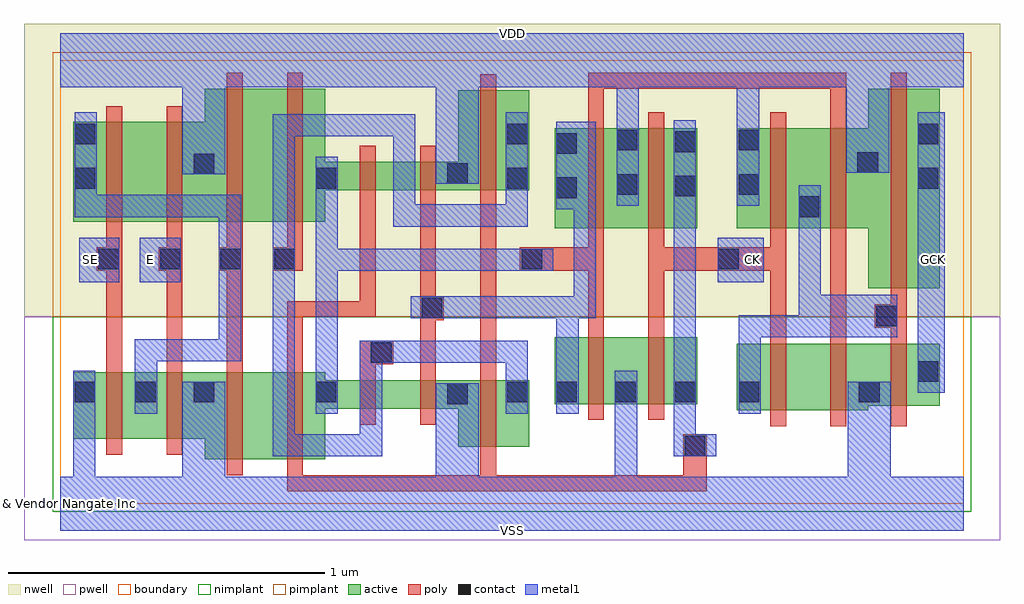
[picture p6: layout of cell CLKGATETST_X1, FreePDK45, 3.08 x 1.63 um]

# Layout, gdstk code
import gdstk
lib = gdstk.Library(unit=1e-6, precision=1e-09)
def R(c, l, rs):  # rectangles x0, y0, x1, y1
    for r in rs: c.add(gdstk.rectangle(r[:2], r[2:], *l))
def P(c, l, *ps):  # polygons
    for p in ps: c.add(gdstk.Polygon(p, *l))
active = (1, 0)
pwell = (2, 0)
nwell = (3, 0)
nimplant = (4, 0)
pimplant = (5, 0)
poly = (9, 0)
contact = (10, 0)
metal1 = (11, 0)
boundary = (235, 0)

clkgatetst_x1 = lib.new_cell('CLKGATETST_X1')
R(clkgatetst_x1, active, [(1.56,0.315,2.01,0.525), (1.56,0.87,2.01,1.185)])
P(clkgatetst_x1, active, [(0.04,0.205),(0.455,0.205),(0.455,0.14),(0.835,0.14),(0.835,0.3),(1.255,0.3),(1.255,0.18),(1.48,0.18),(1.48,0.39),(0.835,0.39),(0.835,0.415),(0.04,0.415)],
  [(0.04,0.89),(0.835,0.89),(0.835,0.99),(1.48,0.99),(1.48,1.305),(1.255,1.305),(1.255,1.08),(0.835,1.08),(0.835,1.31),(0.455,1.31),(0.455,1.205),(0.04,1.205)],
  [(2.135,0.295),(2.55,0.295),(2.55,0.31),(2.775,0.31),(2.775,0.505),(2.135,0.505)],
  [(2.135,0.87),(2.55,0.87),(2.55,0.68),(2.775,0.68),(2.775,1.31),(2.55,1.31),(2.55,1.185),(2.135,1.185)])
R(clkgatetst_x1, pwell, [(-0.115,-0.115,2.965,0.59)])
R(clkgatetst_x1, nwell, [(-0.115,0.59,2.965,1.515)])
R(clkgatetst_x1, nimplant, [(-0.025,-0.025,2.875,0.59)])
R(clkgatetst_x1, pimplant, [(-0.025,0.59,2.875,1.425)])
P(clkgatetst_x1, poly, [(0.115,0.735),(0.145,0.735),(0.145,0.155),(0.195,0.155),(0.195,1.255),(0.145,1.255),(0.145,0.81),(0.115,0.81)],
  [(0.31,0.735),(0.335,0.735),(0.335,0.155),(0.385,0.155),(0.385,1.255),(0.335,1.255),(0.335,0.81),(0.31,0.81)],
  [(0.5,0.735),(0.525,0.735),(0.525,0.09),(0.575,0.09),(0.575,1.36),(0.525,1.36),(0.525,0.81),(0.5,0.81)],
  [(0.67,0.735),(0.765,0.735),(0.765,1.36),(0.715,1.36),(0.715,0.81),(0.67,0.81)],
  [(0.945,0.25),(0.995,0.25),(0.995,0.44),(1.05,0.44),(1.05,0.515),(0.945,0.515)],
  [(1.135,0.25),(1.185,0.25),(1.185,0.58),(1.21,0.58),(1.21,0.655),(1.185,0.655),(1.185,1.13),(1.135,1.13)],
  [(0.715,0.04),(2.04,0.04),(2.04,0.22),(1.965,0.22),(1.965,0.09),(1.375,0.09),(1.375,1.355),(1.325,1.355),(1.325,0.09),(0.765,0.09),(0.765,0.59),(0.995,0.59),(0.995,1.13),(0.945,1.13),(0.945,0.64),(0.715,0.64)],
  [(1.855,0.265),(1.905,0.265),(1.905,0.735),(2.24,0.735),(2.24,0.245),(2.29,0.245),(2.29,1.235),(2.24,1.235),(2.24,0.81),(1.905,0.81),(1.905,1.235),(1.855,1.235)],
  [(1.45,0.735),(1.665,0.735),(1.665,0.265),(1.715,0.265),(1.715,1.31),(2.43,1.31),(2.43,0.245),(2.48,0.245),(2.48,1.36),(1.665,1.36),(1.665,0.81),(1.45,0.81)],
  [(2.57,0.555),(2.62,0.555),(2.62,0.245),(2.67,0.245),(2.67,1.36),(2.62,1.36),(2.62,0.63),(2.57,0.63)])
R(clkgatetst_x1, contact, [(1.97,0.15,2.035,0.215), (1.22,0.315,1.285,0.38), (0.045,0.32,0.11,0.385), (0.235,0.32,0.3,0.385), (0.42,0.32,0.485,0.385), (0.805,0.32,0.87,0.385), (1.41,0.32,1.475,0.385), (1.565,0.32,1.63,0.385), (1.75,0.32,1.815,0.385), (1.94,0.32,2.005,0.385), (2.14,0.32,2.205,0.385), (2.52,0.32,2.585,0.385), (2.705,0.385,2.77,0.45), (0.98,0.445,1.045,0.51), (2.575,0.56,2.64,0.625), (1.14,0.585,1.205,0.65), (0.12,0.74,0.185,0.805), (0.315,0.74,0.38,0.805), (0.505,0.74,0.57,0.805), (0.675,0.74,0.74,0.805), (1.455,0.74,1.52,0.805), (2.075,0.74,2.14,0.805), (2.33,0.905,2.395,0.97), (1.565,0.965,1.63,1.03), (1.94,0.97,2.005,1.035), (1.755,0.975,1.82,1.04), (2.14,0.975,2.205,1.04), (0.045,0.995,0.11,1.06), (0.805,0.995,0.87,1.06), (1.41,0.995,1.475,1.06), (2.705,0.995,2.77,1.06), (1.22,1.01,1.285,1.075), (0.42,1.04,0.485,1.105), (2.515,1.045,2.58,1.11), (1.565,1.105,1.63,1.17), (1.94,1.11,2.005,1.175), (1.755,1.115,1.82,1.18), (2.14,1.115,2.205,1.18), (0.045,1.135,0.11,1.2), (1.41,1.135,1.475,1.2), (2.705,1.135,2.77,1.2)])
R(clkgatetst_x1, metal1, [(2.705,0.35,2.79,1.235), (0.06,0.7,0.185,0.84), (0.25,0.7,0.38,0.84), (2.075,0.7,2.22,0.84)])
P(clkgatetst_x1, metal1, [(0.045,0.905),(0.5,0.905),(0.5,0.52),(0.235,0.52),(0.235,0.285),(0.305,0.285),(0.305,0.45),(0.57,0.45),(0.57,0.975),(0.115,0.975),(0.115,1.235),(0.045,1.235)],
  [(0.74,1.16),(1.05,1.16),(1.05,0.875),(1.475,0.875),(1.475,1.235),(1.405,1.235),(1.405,0.945),(1.12,0.945),(1.12,1.23),(0.67,1.23),(0.67,0.15),(1.015,0.15),(1.015,0.445),(1.405,0.445),(1.405,0.285),(1.475,0.285),(1.475,0.515),(0.945,0.515),(0.945,0.22),(0.74,0.22)],
  [(0.805,0.285),(0.875,0.285),(0.875,0.735),(1.555,0.735),(1.555,0.805),(0.875,0.805),(0.875,1.095),(0.805,1.095)],
  [(1.565,0.93),(1.62,0.93),(1.62,0.655),(1.105,0.655),(1.105,0.585),(1.565,0.585),(1.565,0.285),(1.635,0.285),(1.635,0.585),(1.69,0.585),(1.69,1.205),(1.565,1.205)],
  [(1.935,0.15),(2.07,0.15),(2.07,0.22),(2.005,0.22),(2.005,1.21),(1.935,1.21)],
  [(2.14,0.285),(2.21,0.285),(2.21,0.525),(2.64,0.525),(2.64,0.66),(2.4,0.66),(2.4,1.005),(2.33,1.005),(2.33,0.595),(2.14,0.595)],
  [(0,-0.085),(2.85,-0.085),(2.85,0.085),(2.62,0.085),(2.62,0.385),(2.485,0.385),(2.485,0.085),(1.82,0.085),(1.82,0.42),(1.75,0.42),(1.75,0.085),(1.32,0.085),(1.32,0.38),(1.185,0.38),(1.185,0.085),(0.52,0.085),(0.52,0.385),(0.385,0.385),(0.385,0.085),(0.11,0.085),(0.11,0.42),(0.04,0.42),(0.04,0.085),(0,0.085)],
  [(0,1.315),(0.385,1.315),(0.385,1.04),(0.52,1.04),(0.52,1.315),(1.185,1.315),(1.185,1.01),(1.32,1.01),(1.32,1.315),(1.755,1.315),(1.755,0.94),(1.825,0.94),(1.825,1.315),(2.135,1.315),(2.135,0.94),(2.205,0.94),(2.205,1.315),(2.48,1.315),(2.48,1.045),(2.615,1.045),(2.615,1.315),(2.85,1.315),(2.85,1.485),(0,1.485)])
R(clkgatetst_x1, boundary, [(0,0,2.85,1.4)])
clkgatetst_x1.add(gdstk.Label('CK', (2.185,0.77), layer=11, texttype=0))
clkgatetst_x1.add(gdstk.Label('E', (0.285,0.77), layer=11, texttype=0))
clkgatetst_x1.add(gdstk.Label('GCK', (2.755,0.77), layer=11, texttype=0))
clkgatetst_x1.add(gdstk.Label('SE', (0.095,0.77), layer=11, texttype=0))
clkgatetst_x1.add(gdstk.Label('VDD', (1.425,1.485), layer=11, texttype=0))
clkgatetst_x1.add(gdstk.Label('VSS', (1.425,-0.085), layer=11, texttype=0))
clkgatetst_x1.add(gdstk.Label('& Vendor Nangate Inc', (0,0), layer=63, texttype=63))
clkgatetst_x1.add(gdstk.Label('& Product Open Cell Library', (0,0), layer=63, texttype=63))
clkgatetst_x1.add(gdstk.Label('& Version 2010_12', (0,0), layer=63, texttype=63))
clkgatetst_x1.add(gdstk.Label('& Instance CLKGATETST_X1', (0,0), layer=63, texttype=63))

lib.write_gds('CLKGATETST_X1.gds')
